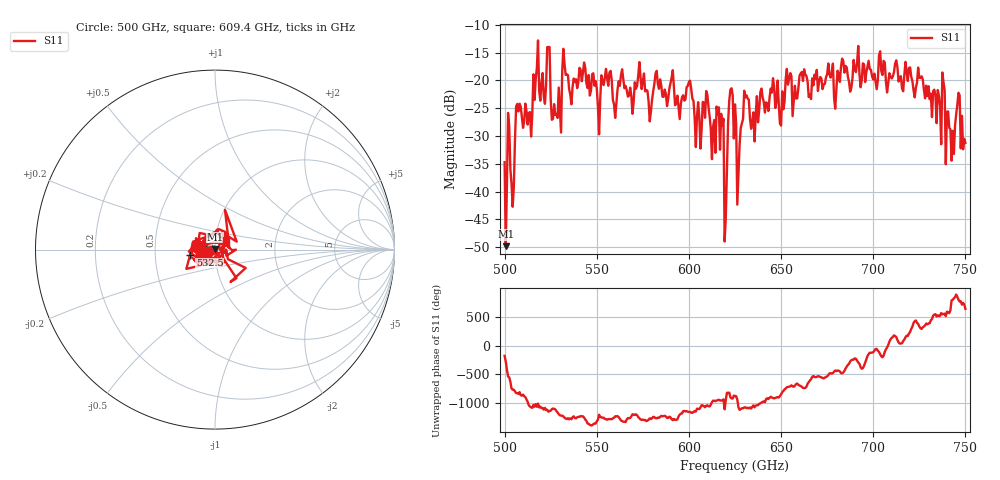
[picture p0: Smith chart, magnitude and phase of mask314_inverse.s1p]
!Created with skrf (http://scikit-rf.org).
# GHz S MA R 50.0
!freq magS11 angS11
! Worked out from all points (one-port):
!   401 points, 500 GHz to 750 GHz, reference 50 ohm
!   lowest |S11| = -49.8 dB at 500.6 GHz (marker M1), VSWR 1.01, Z = 50 + j0.321 ohm
!   |S11| at or under -10 dB: start of sweep to end of sweep
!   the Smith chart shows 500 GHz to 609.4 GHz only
!   S11 on the Smith chart (normalised r, x): 500 GHz: 0.96, -0.00; 532.5 GHz: 0.76, -0.04; 609.4 GHz: 1.13, +0.12
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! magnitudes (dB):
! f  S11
! 500 GHz  -34.7
! 500.6 GHz  -49.8
! 504.4 GHz  -42.7
! 507.5 GHz  -25.6
! 513.8 GHz  -25.7
! 516.9 GHz  -19.8
! 523.8 GHz  -14.0
! 526.9 GHz  -24.3
! 531.2 GHz  -18.4
! 532.5 GHz  -17.0
! 550.6 GHz  -24.7
! 562.5 GHz  -21.0
! 593.8 GHz  -22.7
! 609.4 GHz  -21.9
! 617.5 GHz  -26.0
! 619.4 GHz  -49.0
! 622.5 GHz  -21.7
! 625 GHz  -24.3
! 627.5 GHz  -31.5
! 631.2 GHz  -22.7
! 634.4 GHz  -27.4
! 656.2 GHz  -26.4
! 687.5 GHz  -22.0
! 718.8 GHz  -20.1
! 737.5 GHz  -18.6
! 742.5 GHz  -34.4
! 745.6 GHz  -24.4
! 750 GHz  -31.2
